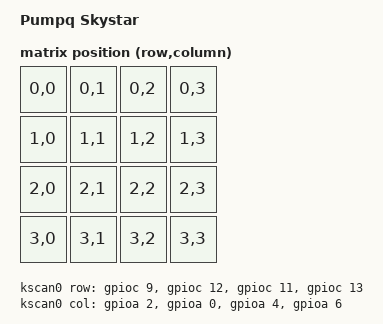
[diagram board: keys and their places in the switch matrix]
/*
 * Copyright (c) 2022 The ZMK Contributors
 *
 * SPDX-License-Identifier: MIT
 */


/dts-v1/;
#include <st/f4/stm32f407Xe.dtsi>
#include <st/f4/stm32f407v(e-g)tx-pinctrl.dtsi>

#include <dt-bindings/zmk/matrix_transform.h>
#include <physical_layouts.dtsi>

/ {
	model = "Pumpq Skystar";
	compatible = "pumpq,skystar";

	chosen {
		zephyr,sram = &sram0;
		zephyr,flash = &flash0;
		zmk,kscan = &kscan0;
		zmk,physical-layout = &layout_pumpq_4x4_all1u;
	};

	kscan0: kscan0 {
		compatible = "zmk,kscan-gpio-matrix";
		diode-direction = "col2row";
		row-gpios = <&gpioc 9 (GPIO_ACTIVE_HIGH | GPIO_PULL_DOWN)>,
					<&gpioc 12 (GPIO_ACTIVE_HIGH | GPIO_PULL_DOWN)>,
					<&gpioc 11 (GPIO_ACTIVE_HIGH | GPIO_PULL_DOWN)>,
					<&gpioc 13 (GPIO_ACTIVE_HIGH | GPIO_PULL_DOWN)>;
		col-gpios = <&gpioa 2 GPIO_ACTIVE_HIGH>,
					<&gpioa 0 GPIO_ACTIVE_HIGH>,
					<&gpioa 4 GPIO_ACTIVE_HIGH>,
					<&gpioa 6 GPIO_ACTIVE_HIGH>;
	};

	layout_grid_transform:
	keymap_transform_0 {
		compatible = "zmk,matrix-transform";
		columns = <4>;
		rows = <4>;
		map = <RC(0,0) RC(0,1) RC(0,2) RC(0,3)
			   RC(1,0) RC(1,1) RC(1,2) RC(1,3)
			   RC(2,0) RC(2,1) RC(2,2) RC(2,3)
			   RC(3,0) RC(3,1) RC(3,2) RC(3,3)>;
	};

	layout_pumpq_4x4_all1u: layout_pumpq_4x4_all1u {
		compatible = "zmk,physical-layout";
		display-name = "4x4 All 1U/Grid";
		transform = <&layout_grid_transform>;

		keys //                     w   h    x    y     rot    rx    ry
            = <&key_physical_attrs 100 100 0 0 0 0 0>,
			   <&key_physical_attrs 100 100 100 0 0 0 0>,
			   <&key_physical_attrs 100 100 200 0 0 0 0>,
			   <&key_physical_attrs 100 100 300 0 0 0 0>,
			   <&key_physical_attrs 100 100 0 100 0 0 0>,
			   <&key_physical_attrs 100 100 100 100 0 0 0>,
			   <&key_physical_attrs 100 100 200 100 0 0 0>,
			   <&key_physical_attrs 100 100 300 100 0 0 0>,
			   <&key_physical_attrs 100 100 0 200 0 0 0>,
			   <&key_physical_attrs 100 100 100 200 0 0 0>,
			   <&key_physical_attrs 100 100 200 200 0 0 0>,
			   <&key_physical_attrs 100 100 300 200 0 0 0>,
			   <&key_physical_attrs 100 100 0 300 0 0 0>,
			   <&key_physical_attrs 100 100 100 300 0 0 0>,
			   <&key_physical_attrs 100 100 200 300 0 0 0>,
			   <&key_physical_attrs 100 100 300 300 0 0 0>;
	};
};

&clk_hse {
	status = "okay";
	clock-frequency = <DT_FREQ_M(8)>;
};

&pll {
	div-m = <8>;
	mul-n = <336>;
	div-p = <2>;      /* 168 MHz */
	div-q = <7>;      /* 48 MHz for USB */
	clocks = <&clk_hse>;
	status = "okay";
};

&rcc {
	clocks = <&pll>;
	clock-frequency = <DT_FREQ_M(168)>;
	ahb-prescaler = <1>;
	apb1-prescaler = <4>;   /* 42 MHz, APB1 上限 */
	apb2-prescaler = <2>;   /* 84 MHz, APB2 上限 */
};

zephyr_udc0: &usbotg_fs {
	pinctrl-0 = <&usb_otg_fs_dm_pa11 &usb_otg_fs_dp_pa12>;
	pinctrl-names = "default";
	status = "okay";
};
